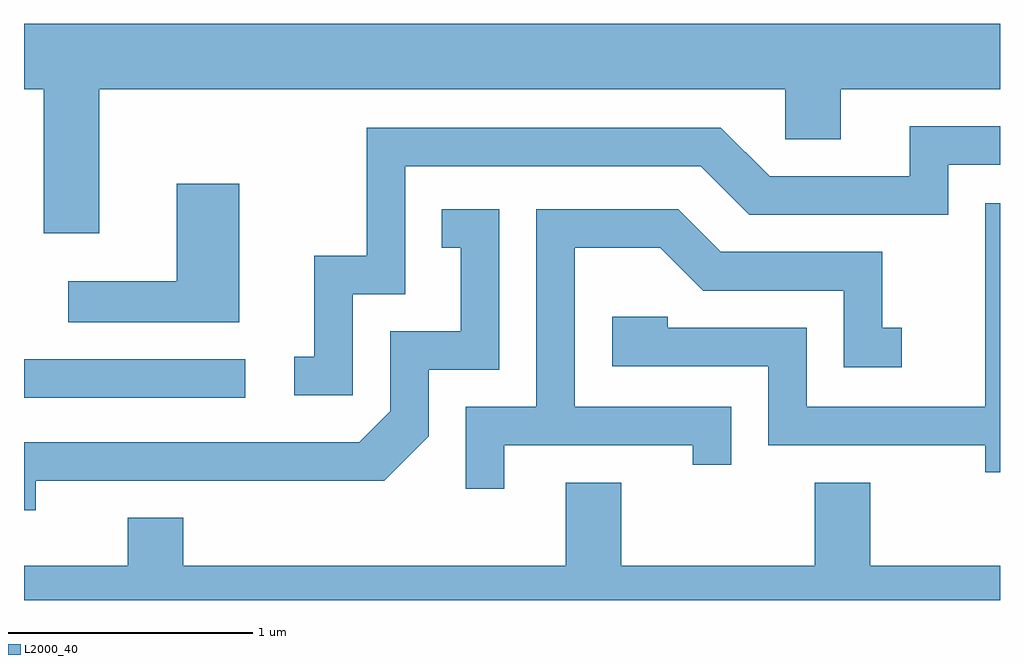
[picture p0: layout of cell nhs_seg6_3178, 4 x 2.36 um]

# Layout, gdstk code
import gdstk
lib = gdstk.Library(unit=1e-6, precision=1e-09)
def R(c, l, rs):  # rectangles x0, y0, x1, y1
    for r in rs: c.add(gdstk.rectangle(r[:2], r[2:], *l))
def P(c, l, *ps):  # polygons
    for p in ps: c.add(gdstk.Polygon(p, *l))
L2000_40 = (2000, 40)

nhs_seg6_3178 = lib.new_cell('nhs_seg6_3178')
R(nhs_seg6_3178, L2000_40, [(281.611,1550.991,282.518,1551.149)])
P(nhs_seg6_3178, L2000_40, [(281.919,1552.256),(284.731,1552.256),(284.731,1552.051),(284.959,1552.051),(284.959,1552.256),(285.611,1552.256),(285.611,1552.524),(281.611,1552.524),(281.611,1552.256),(281.691,1552.256),(281.691,1551.666),(281.919,1551.666)],
  [(282.959,1551.416),(283.174,1551.416),(283.174,1551.941),(284.384,1551.941),(284.584,1551.741),(285.399,1551.741),(285.399,1551.946),(285.611,1551.946),(285.611,1552.104),(285.241,1552.104),(285.241,1551.899),(284.667,1551.899),(284.467,1552.099),(283.016,1552.099),(283.016,1551.574),(282.801,1551.574),(282.801,1551.159),(282.718,1551.159),(282.718,1551.001),(282.959,1551.001)],
  [(282.494,1551.869),(282.236,1551.869),(282.236,1551.469),(281.793,1551.469),(281.793,1551.301),(282.494,1551.301)],
  [(285.611,1551.789),(285.551,1551.789),(285.551,1550.954),(284.819,1550.954),(284.819,1551.279),(284.249,1551.279),(284.249,1551.324),(284.021,1551.324),(284.021,1551.121),(284.661,1551.121),(284.661,1550.796),(285.551,1550.796),(285.551,1550.686),(285.611,1550.686)],
  [(283.579,1550.796),(284.351,1550.796),(284.351,1550.718),(284.509,1550.718),(284.509,1550.954),(283.869,1550.954),(283.869,1551.606),(284.219,1551.606),(284.394,1551.431),(284.971,1551.431),(284.971,1551.116),(285.208,1551.116),(285.208,1551.279),(285.129,1551.279),(285.129,1551.589),(284.467,1551.589),(284.292,1551.764),(283.711,1551.764),(283.711,1550.954),(283.421,1550.954),(283.421,1550.618),(283.579,1550.618)],
  [(281.659,1550.651),(283.087,1550.651),(283.269,1550.834),(283.269,1551.106),(283.559,1551.106),(283.559,1551.764),(283.323,1551.764),(283.323,1551.606),(283.401,1551.606),(283.401,1551.264),(283.111,1551.264),(283.111,1550.937),(282.984,1550.809),(281.611,1550.809),(281.611,1550.531),(281.659,1550.531)],
  [(285.611,1550.304),(285.079,1550.304),(285.079,1550.644),(284.851,1550.644),(284.851,1550.304),(284.059,1550.304),(284.059,1550.644),(283.831,1550.644),(283.831,1550.304),(282.264,1550.304),(282.264,1550.499),(282.036,1550.499),(282.036,1550.304),(281.611,1550.304),(281.611,1550.162),(285.611,1550.162)])

lib.write_gds('nhs_seg6_3178.gds')
